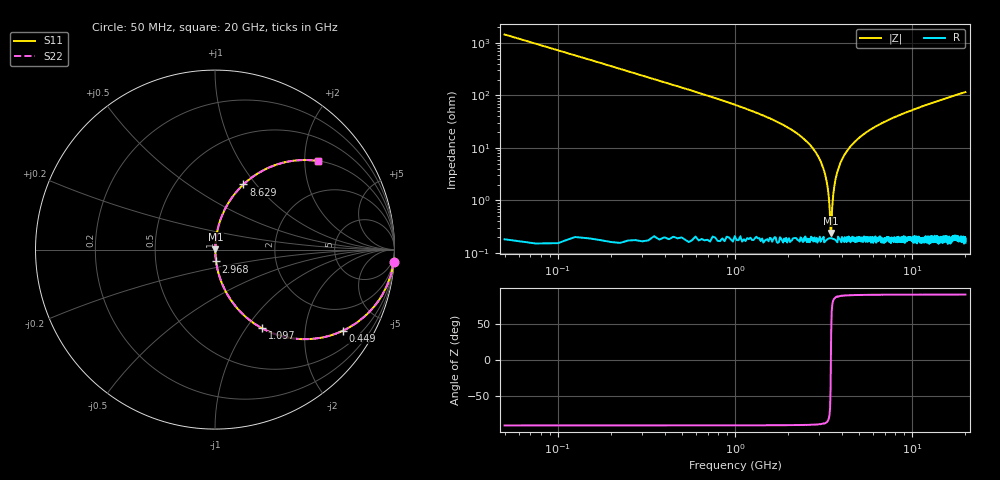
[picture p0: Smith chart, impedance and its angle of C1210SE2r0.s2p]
! AVX Thin Film Operation		Date: April 2012
! Description: Accu-P® Series, Thin Film, SMD, RF Capacitor
! Part Number: 12101J2R0PBTTR
!	100	MHz	-	20.05	GHz
!	Serial	Measurements
#	MHZ	S	MA	R	50
!	S11	S21	S12	S22
!	dB	Phase	dB	Phase	dB	Phase	dB	Phase
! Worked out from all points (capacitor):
!   801 points, 50 MHz to 20 GHz, reference 50 ohm
!   read as one part in series: C = 2.2 pF near 149.8 MHz
!   lowest |Z| = 241 mohm at 3.491 GHz (marker M1)
!   series resonance near 3.479 GHz, so ESL is about 950 pH
!   S11 on the Smith chart (normalised r, x): 50 MHz: 1, -29; 449 MHz: 1.00, -3.17; 1.097 GHz: 1.00, -1.19; 2.968 GHz: 1.00, -0.13; 8.629 GHz: 1.00, +0.86; 20 GHz: 1.00, +2.32
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50  0.998 -4.0  0.069 86.0  0.069 86.0  0.998 -4.0
224.563  0.955 -17.3  0.298 72.7  0.298 72.7  0.955 -17.3
449  0.845 -32.2  0.533 57.7  0.533 57.7  0.845 -32.2
723.313  0.691 -46.2  0.722 43.7  0.722 43.7  0.691 -46.2
1097.375  0.51 -59.2  0.859 30.6  0.859 30.6  0.51 -59.2
2344.25  0.166 -79.8  0.984 9.5  0.984 9.5  0.166 -79.8
2967.688  0.066 -84.6  0.996 3.8  0.996 3.8  0.066 -84.6
3242  0.029 -84.8  0.998 1.7  0.998 1.7  0.029 -84.8
3316.813  0.02 -83.6  0.998 1.1  0.998 1.1  0.02 -83.6
3391.625  0.011 -79.6  0.998 0.6  0.998 0.6  0.011 -79.6
3491.375  0.002335 38.8  0.998 -0.1  0.998 -0.1  0.002335 38.8
3541.25  0.007576 75.7  0.998 -0.4  0.998 -0.4  0.007576 75.7
3641  0.019 83.4  0.998 -1.1  0.998 -1.1  0.019 83.4
3765.688  0.033 85.0  0.998 -1.9  0.998 -1.9  0.033 85.0
4239.5  0.082 84.0  0.995 -4.7  0.995 -4.7  0.082 84.0
5187.125  0.168 79.7  0.984 -9.7  0.984 -9.7  0.168 79.7
6708.313  0.281 73.3  0.958 -16.3  0.958 -16.3  0.281 73.3
8628.5  0.396 66.4  0.917 -23.3  0.917 -23.3  0.396 66.4
10025  0.466 62.1  0.883 -27.7  0.883 -27.7  0.466 62.1
13366.62  0.597 53.2  0.801 -36.6  0.801 -36.6  0.597 53.2
16683.31  0.69 46.3  0.723 -43.6  0.723 -43.6  0.69 46.3
20000  0.757 40.7  0.653 -49.2  0.653 -49.2  0.757 40.7
